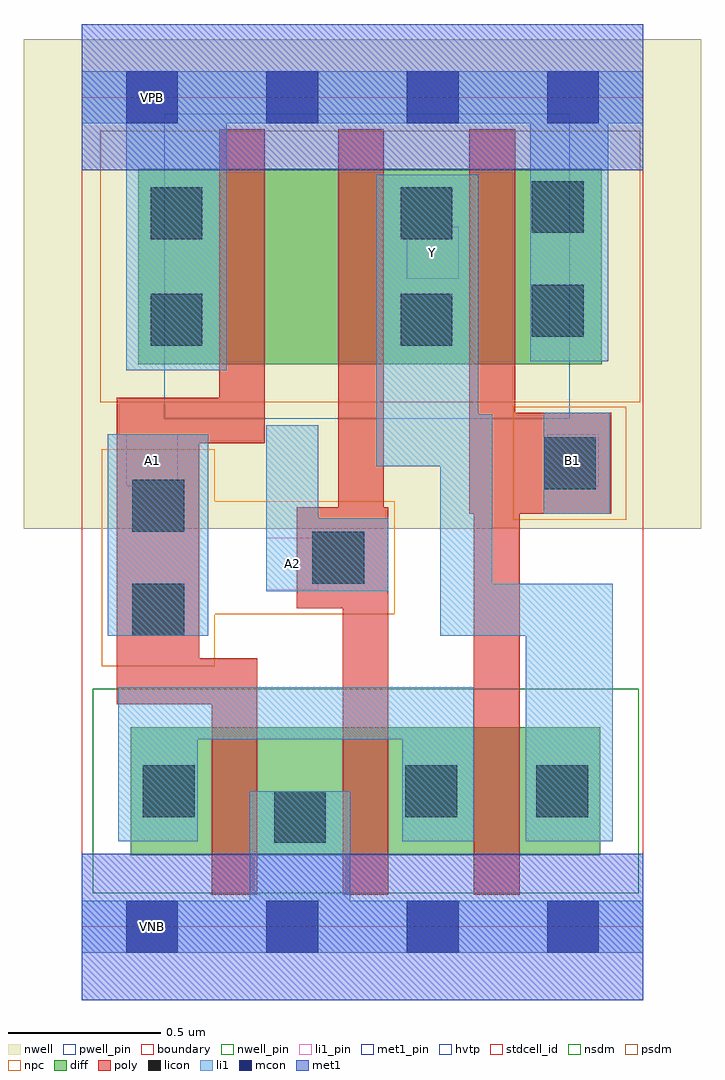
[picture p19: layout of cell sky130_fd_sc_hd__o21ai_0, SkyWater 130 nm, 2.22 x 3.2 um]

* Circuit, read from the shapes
.subckt sky130_fd_sc_hd__o21ai_0 A1 A2 B1 VGND VNB VPB VPWR Y
XM1 VGND A1 n1 VNB sky130_fd_pr__nfet_01v8 w=0.42 l=0.15
XM2 n1 A2 VGND VNB sky130_fd_pr__nfet_01v8 w=0.42 l=0.15
XM3 Y B1 n1 VNB sky130_fd_pr__nfet_01v8 w=0.42 l=0.15
XM4 n2 A1 VPWR VPB sky130_fd_pr__pfet_01v8_hvt w=0.64 l=0.15
XM5 Y A2 n2 VPB sky130_fd_pr__pfet_01v8_hvt w=0.64 l=0.15
XM6 VPWR B1 Y VPB sky130_fd_pr__pfet_01v8_hvt w=0.64 l=0.15
.ends

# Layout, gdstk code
import gdstk
lib = gdstk.Library(unit=1e-6, precision=1e-09)
def R(c, l, rs):  # rectangles x0, y0, x1, y1
    for r in rs: c.add(gdstk.rectangle(r[:2], r[2:], *l))
def A(c, l, x, y, w, h, nx, ny, dx, dy):  # array of equal rectangles
    R(c, l, [(x+i*dx, y+j*dy, x+i*dx+w, y+j*dy+h) for i in range(nx) for j in range(ny)])
nwell_pin = (64, 16)
nwell = (64, 20)
diff = (65, 20)
poly = (66, 20)
licon = (66, 44)
li1_pin = (67, 16)
li1 = (67, 20)
mcon = (67, 44)
met1_pin = (68, 16)
met1 = (68, 20)
hvtp = (78, 44)
stdcell_id = (81, 4)
nsdm = (93, 44)
psdm = (94, 20)
npc = (95, 20)
pwell_pin = (122, 16)
boundary = (235, 4)

sky130_fd_sc_hd__o21ai_0 = lib.new_cell('sky130_fd_sc_hd__o21ai_0')
R(sky130_fd_sc_hd__o21ai_0, nwell_pin, [(0.145,2.635,0.315,2.805)])
R(sky130_fd_sc_hd__o21ai_0, nwell, [(-0.19,1.305,2.03,2.91)])
R(sky130_fd_sc_hd__o21ai_0, diff, [(0.16,0.235,1.7,0.655), (0.185,1.845,1.705,2.485)])
R(sky130_fd_sc_hd__o21ai_0, poly, [(0.425,0.105,0.575,0.73), (0.855,0.105,1.005,1.045), (1.285,0.105,1.435,1.355), (0.115,0.73,0.575,0.88), (0.115,0.88,0.385,1.585), (0.705,1.045,1.005,1.375), (1.27,1.355,1.735,1.685), (0.84,1.375,0.99,2.615), (0.115,1.585,0.6,1.735), (1.27,1.685,1.42,2.615), (0.45,1.735,0.6,2.615)])
R(sky130_fd_sc_hd__o21ai_0, licon, [(0.63,0.275,0.8,0.445), (0.2,0.36,0.37,0.53), (1.06,0.36,1.23,0.53), (1.49,0.36,1.66,0.53), (0.165,0.955,0.335,1.125), (0.755,1.125,0.925,1.295), (0.165,1.295,0.335,1.465), (1.515,1.435,1.685,1.605), (0.225,1.905,0.395,2.075), (1.045,1.905,1.215,2.075), (1.475,1.935,1.645,2.105), (0.225,2.255,0.395,2.425), (1.045,2.255,1.215,2.425), (1.475,2.275,1.645,2.445)])
R(sky130_fd_sc_hd__o21ai_0, li1_pin, [(0.605,1.105,0.775,1.275), (0.145,1.445,0.315,1.615), (1.525,1.445,1.695,1.615), (1.065,2.125,1.235,2.295)])
R(sky130_fd_sc_hd__o21ai_0, li1, [(0,-0.085,1.84,0.085), (0.55,0.085,0.88,0.445), (0.12,0.28,0.38,0.615), (1.05,0.28,1.285,0.615), (1.455,0.28,1.74,0.955), (0.12,0.615,1.285,0.785), (0.085,0.955,0.415,1.615), (1.175,0.955,1.74,1.125), (0.605,1.1,1.005,1.34), (1.175,1.125,1.345,1.51), (0.605,1.34,0.775,1.645), (1.515,1.355,1.73,1.685), (0.965,1.51,1.345,1.68), (0.965,1.68,1.3,2.465), (0.145,1.825,0.475,2.635), (1.47,1.855,1.725,2.635), (0,2.635,1.84,2.805)])
A(sky130_fd_sc_hd__o21ai_0, mcon, 0.145, -0.085, 0.17, 0.17, 4, 2, 0.46, 2.72)
R(sky130_fd_sc_hd__o21ai_0, met1_pin, [(0.145,-0.085,0.315,0.085), (0.145,2.635,0.315,2.805)])
R(sky130_fd_sc_hd__o21ai_0, met1, [(0,-0.24,1.84,0.24), (0,2.48,1.84,2.96)])
R(sky130_fd_sc_hd__o21ai_0, hvtp, [(0.27,1.665,1.6,2.665)])
R(sky130_fd_sc_hd__o21ai_0, stdcell_id, [(0,0,1.84,2.72)])
R(sky130_fd_sc_hd__o21ai_0, nsdm, [(0.035,0.11,1.825,0.78)])
R(sky130_fd_sc_hd__o21ai_0, psdm, [(0.06,1.72,1.83,2.61)])
R(sky130_fd_sc_hd__o21ai_0, npc, [(0.065,0.855,0.435,1.025), (0.065,1.025,1.025,1.395), (1.415,1.335,1.785,1.705), (0.065,1.395,0.435,1.565)])
R(sky130_fd_sc_hd__o21ai_0, pwell_pin, [(0.145,-0.085,0.315,0.085)])
R(sky130_fd_sc_hd__o21ai_0, boundary, [(0,0,1.84,2.72)])
sky130_fd_sc_hd__o21ai_0.add(gdstk.Label('VNB', (0.23,0), layer=64, texttype=59))
sky130_fd_sc_hd__o21ai_0.add(gdstk.Label('VPB', (0.23,2.72), layer=64, texttype=5))
sky130_fd_sc_hd__o21ai_0.add(gdstk.Label('VGND', (0.23,0), layer=68, texttype=5))
sky130_fd_sc_hd__o21ai_0.add(gdstk.Label('VPWR', (0.23,2.72), layer=68, texttype=5))
sky130_fd_sc_hd__o21ai_0.add(gdstk.Label('B1', (1.61,1.53), layer=67, texttype=5))
sky130_fd_sc_hd__o21ai_0.add(gdstk.Label('A1', (0.23,1.53), layer=67, texttype=5))
sky130_fd_sc_hd__o21ai_0.add(gdstk.Label('Y', (1.15,2.21), layer=67, texttype=5))
sky130_fd_sc_hd__o21ai_0.add(gdstk.Label('A2', (0.69,1.19), layer=67, texttype=5))

lib.write_gds('sky130_fd_sc_hd__o21ai_0.gds')
